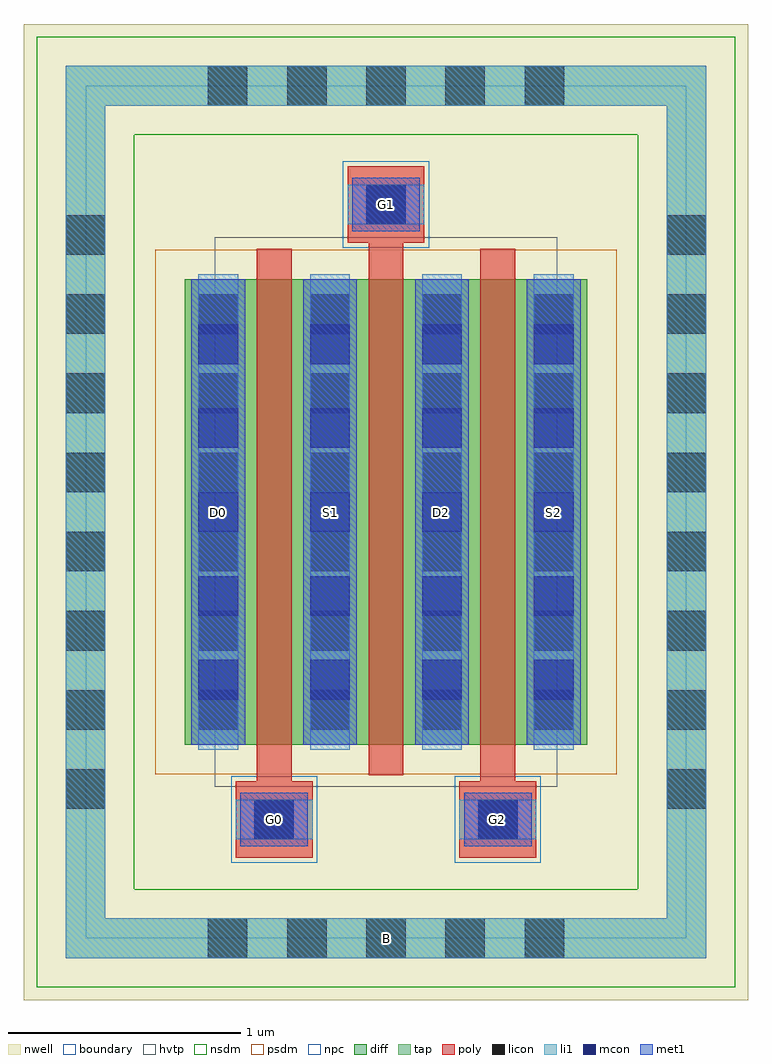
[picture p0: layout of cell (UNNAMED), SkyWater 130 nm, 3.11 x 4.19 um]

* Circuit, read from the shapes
.subckt (UNNAMED) B D0 D2 G0 G1 G2 S1 S2
XM1 S1 G0 D0 B sky130_fd_pr__pfet_01v8_hvt w=2 l=0.15
XM2 D2 G1 S1 B sky130_fd_pr__pfet_01v8_hvt w=2 l=0.15
XM3 S2 G2 D2 B sky130_fd_pr__pfet_01v8_hvt w=2 l=0.15
.ends

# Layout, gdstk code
import gdstk
lib = gdstk.Library(unit=1e-6, precision=1e-09)
def R(c, l, rs):  # rectangles x0, y0, x1, y1
    for r in rs: c.add(gdstk.rectangle(r[:2], r[2:], *l))
def A(c, l, x, y, w, h, nx, ny, dx, dy):  # array of equal rectangles
    R(c, l, [(x+i*dx, y+j*dy, x+i*dx+w, y+j*dy+h) for i in range(nx) for j in range(ny)])
nwell = (64, 20)
diff = (65, 20)
tap = (65, 44)
poly = (66, 20)
licon = (66, 44)
li1 = (67, 20)
mcon = (67, 44)
met1 = (68, 20)
hvtp = (78, 44)
nsdm = (93, 44)
psdm = (94, 20)
npc = (95, 20)
boundary = (235, 4)

c__unnamed_ = lib.new_cell('(UNNAMED)')
R(c__unnamed_, nwell, [(-1.555,-2.095,1.555,2.095)])
R(c__unnamed_, diff, [(-0.865,-1,0.865,1)])
R(c__unnamed_, tap, [(-1.375,-1.915,1.375,-1.745), (-1.375,-1.745,-1.205,1.745), (1.205,-1.745,1.375,1.745), (-1.375,1.745,1.375,1.915)])
R(c__unnamed_, poly, [(-0.645,-1.485,-0.315,-1.155), (0.315,-1.485,0.645,-1.155), (-0.555,-1.155,-0.405,1.13), (0.405,-1.155,0.555,1.13), (-0.075,-1.13,0.075,1.155), (-0.165,1.155,0.165,1.485)])
A(c__unnamed_, licon, -0.765, -1.915, 0.17, 0.17, 5, 2, 0.34, 3.66)
A(c__unnamed_, licon, -1.375, -1.275, 0.17, 0.17, 1, 8, 0, 0.34)
A(c__unnamed_, licon, 1.205, -1.275, 0.17, 0.17, 1, 8, 0, 0.34)
A(c__unnamed_, licon, -0.805, -0.935, 0.17, 0.17, 4, 6, 0.48, 0.34)
R(c__unnamed_, licon, [(-0.565,-1.405,-0.395,-1.235), (0.395,-1.405,0.565,-1.235), (-0.085,1.235,0.085,1.405)])
A(c__unnamed_, li1, -0.805, -1.02, 0.17, 2.04, 4, 1, 0.48, 0)
R(c__unnamed_, li1, [(-1.375,-1.915,1.375,-1.745), (-1.375,-1.745,-1.205,1.745), (1.205,-1.745,1.375,1.745), (-0.645,-1.405,-0.315,-1.235), (0.315,-1.405,0.645,-1.235), (-0.165,1.235,0.165,1.405), (-1.375,1.745,1.375,1.915)])
A(c__unnamed_, mcon, -0.805, -0.805, 0.17, 0.17, 4, 5, 0.48, 0.36)
R(c__unnamed_, mcon, [(-0.565,-1.405,-0.395,-1.235), (0.395,-1.405,0.565,-1.235), (-0.085,1.235,0.085,1.405)])
A(c__unnamed_, met1, -0.835, -1, 0.23, 2, 4, 1, 0.48, 0)
R(c__unnamed_, met1, [(-0.625,-1.435,-0.335,-1.205), (0.335,-1.435,0.625,-1.205), (-0.145,1.205,0.145,1.435)])
R(c__unnamed_, hvtp, [(-0.735,-1.18,0.735,1.18)])
R(c__unnamed_, nsdm, [(-1.5,-2.04,1.5,-1.62), (-1.5,-1.62,-1.08,1.62), (1.08,-1.62,1.5,1.62), (-1.5,1.62,1.5,2.04)])
R(c__unnamed_, psdm, [(-0.99,-1.125,0.99,1.125)])
R(c__unnamed_, npc, [(-0.665,-1.505,-0.295,-1.135), (0.295,-1.505,0.665,-1.135), (-0.185,1.135,0.185,1.505)])
R(c__unnamed_, boundary, [(-1.29,-1.83,1.29,1.83)])
c__unnamed_.add(gdstk.Label('B', (0,-1.83), layer=67, texttype=5))
c__unnamed_.add(gdstk.Label('D0', (-0.72,0), layer=67, texttype=5))
c__unnamed_.add(gdstk.Label('G0', (-0.48,-1.32), layer=67, texttype=5))
c__unnamed_.add(gdstk.Label('S1', (-0.24,0), layer=67, texttype=5))
c__unnamed_.add(gdstk.Label('G1', (0,1.32), layer=67, texttype=5))
c__unnamed_.add(gdstk.Label('D2', (0.24,0), layer=67, texttype=5))
c__unnamed_.add(gdstk.Label('S2', (0.72,0), layer=67, texttype=5))
c__unnamed_.add(gdstk.Label('G2', (0.48,-1.32), layer=67, texttype=5))

lib.write_gds('_UNNAMED_.gds')
